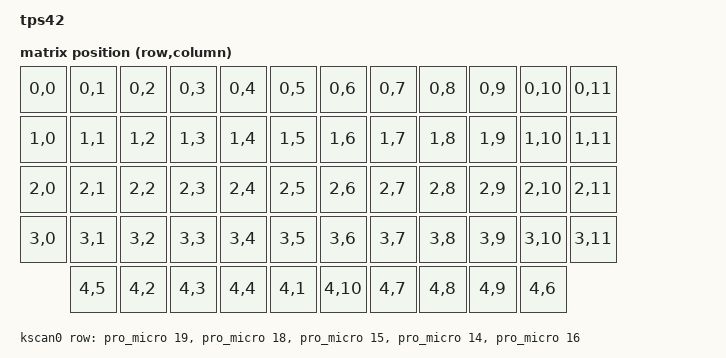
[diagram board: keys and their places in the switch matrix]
/*
 * Copyright (c) 2021 The ZMK Contributors
 *
 * SPDX-License-Identifier: MIT
 */

 /dts-v1/;
#include <nordic/nrf52840_qiaa.dtsi>
#include "arduino_pro_micro_pins.dtsi"
#include <dt-bindings/zmk/matrix_transform.h>

/{
     model = "tps42";
     compatible = "tps42";
 
     chosen {
         zephyr,code-partition = &code_partition;
         zephyr,sram = &sram0;
         zephyr,flash = &flash0;
		 zephyr,display = &lcd;
		 zephyr,console = &cdc_acm_uart;
		 zmk,battery = &vbatt;
         zmk,kscan = &kscan0;
         zmk,matrix_transform = &default_transform;
     };

	default_transform: keymap_transform_0 {
		compatible = "zmk,matrix-transform";
		columns = <12>;
		rows = <5>;
		map = <
			RC(0,0)  RC(0,1)  RC(0,2)  RC(0,3)  RC(0,4)  RC(0,5)    RC(0,6)  RC(0,7)  RC(0,8)  RC(0,9)  RC(0,10)  RC(0,11)
			RC(1,0)  RC(1,1)  RC(1,2)  RC(1,3)  RC(1,4)  RC(1,5)    RC(1,6)  RC(1,7)  RC(1,8)  RC(1,9)  RC(1,10)  RC(1,11)
			RC(2,0)  RC(2,1)  RC(2,2)  RC(2,3)  RC(2,4)  RC(2,5)    RC(2,6)  RC(2,7)  RC(2,8)  RC(2,9)  RC(2,10)  RC(2,11)
			RC(3,0)  RC(3,1)  RC(3,2)  RC(3,3)  RC(3,4)  RC(3,5)    RC(3,6)  RC(3,7)  RC(3,8)  RC(3,9)  RC(3,10)  RC(3,11)
			         RC(4,5)  RC(4,2)  RC(4,3)  RC(4,4)  RC(4,1)    RC(4,10) RC(4,7)  RC(4,8)  RC(4,9)  RC(4,6)  
		>;
	};

	kscan0: kscan {
		compatible = "zmk,kscan-gpio-matrix";
		label = "KSCAN";
        diode-direction = "col2row";
        row-gpios
            = <&pro_micro 19 (GPIO_ACTIVE_HIGH | GPIO_PULL_DOWN)> // ROW1 from the schematic file
            , <&pro_micro 18 (GPIO_ACTIVE_HIGH | GPIO_PULL_DOWN)> // ROW2 from the schematic file
            , <&pro_micro 15 (GPIO_ACTIVE_HIGH | GPIO_PULL_DOWN)> // ROW3 from the schematic file
            , <&pro_micro 14 (GPIO_ACTIVE_HIGH | GPIO_PULL_DOWN)> // ROW4 from the schematic file
			, <&pro_micro 16 (GPIO_ACTIVE_HIGH | GPIO_PULL_DOWN)> // ROW6 from the schematic file
            ;
	};

	leds {
		compatible = "gpio-leds";
		blue_led: led_0 {
			gpios = <&gpio1 10 GPIO_ACTIVE_HIGH>;
			label = "Blue LED";
		};
	};

	ext-power {
		compatible = "zmk,ext-power-generic";
		label = "EXT_POWER";
		control-gpios = <&gpio1 9 GPIO_ACTIVE_LOW>;
	};

	vbatt: vbatt {
		compatible = "zmk,battery-voltage-divider";
		label = "BATTERY";
		io-channels = <&adc 2>;
		output-ohms = <2000000>;
		full-ohms = <(2000000 + 820000)>;
	};
};


&adc {
	status = "okay";
};

&gpiote {
	status = "okay";
};

&gpio0 {
	status = "okay";
};

&gpio1 {
	status = "okay";
};

&i2c0 {
	compatible = "nordic,nrf-twi";
	sda-pin = <15>;
	scl-pin = <17>;
};

&uart0 {
	compatible = "nordic,nrf-uarte";
	tx-pin = <6>;
	rx-pin = <8>;
};

&usbd {
	status = "okay";
	cdc_acm_uart: cdc_acm_uart {
		compatible = "zephyr,cdc-acm-uart";
		label = "CDC_ACM_0";
	};
};

&spi0 {
    status = "okay";
    compatible = "nordic,nrf-spim";
    sck-pin = <8>;//D2
    mosi-pin = <6>;//D3
    cs-gpios = <&pro_micro 2 GPIO_ACTIVE_HIGH>;//D1
    // Unused pin, needed for SPI definition, but not used by the display driver itself.
    miso-pin = <22>; // 0.22 is not broken out on the nRFMicro

	lcd: ls0xx@0 {
		compatible = "sharp,ls0xx";
		label = "DISPLAY";
		spi-max-frequency = <2000000>;
		reg = <0>;
		width = <160>;
		height = <68>;
		extcomin-gpios = <&pro_micro 3 GPIO_ACTIVE_HIGH>;//D0
		extcomin-frequency = <60>;
		disp-en-gpios = <&pro_micro 20 GPIO_ACTIVE_HIGH>; //F5
	};
};


&flash0 {
	/*
	 * For more information, see:
	 * http://docs.zephyrproject.org/latest/devices/dts/flash_partitions.html
	 */
	partitions {
		compatible = "fixed-partitions";
		#address-cells = <1>;
		#size-cells = <1>;

		sd_partition: partition@0 {
			label = "softdevice";
			reg = <0x00000000 0x00026000>;
		};
		code_partition: partition@26000 {
			label = "code_partition";
			reg = <0x00026000 0x000c6000>;
		};

		/*
		 * The flash starting at 0x000ec000 and ending at
		 * 0x000f3fff is reserved for use by the application.
		 */

		/*
		 * Storage partition will be used by FCB/LittleFS/NVS
		 * if enabled.
		 */
		storage_partition: partition@ec000 {
			label = "storage";
			reg = <0x000ec000 0x00008000>;
		};

		boot_partition: partition@f4000 {
			label = "adafruit_boot";
			reg = <0x000f4000 0x0000c000>;
		};
	};
};
